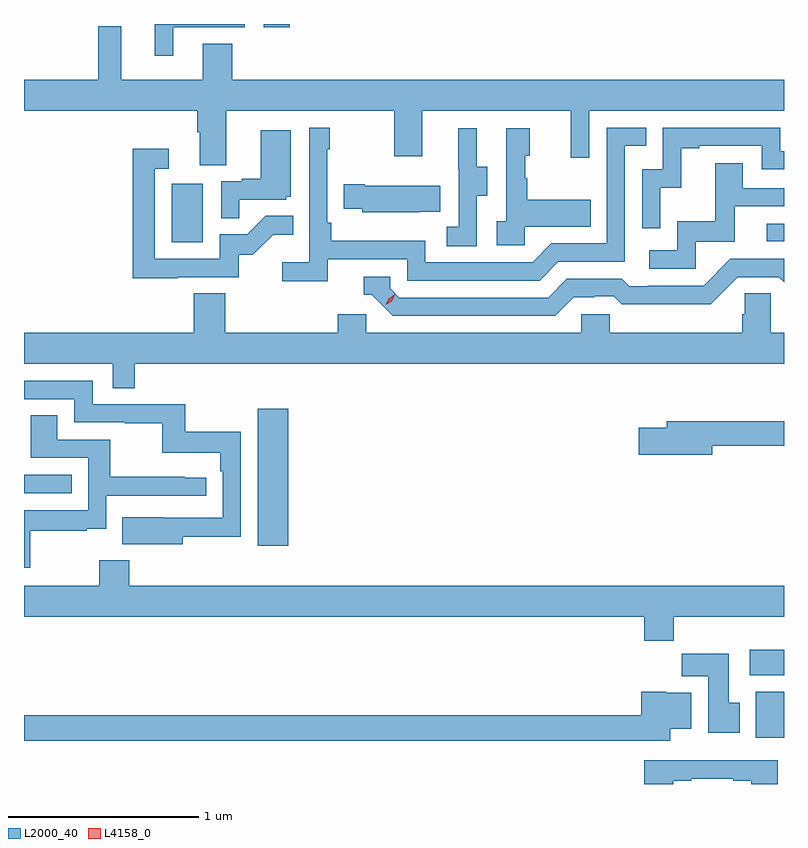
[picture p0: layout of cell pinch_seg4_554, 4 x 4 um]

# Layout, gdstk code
import gdstk
lib = gdstk.Library(unit=1e-6, precision=1e-09)
def R(c, l, rs):  # rectangles x0, y0, x1, y1
    for r in rs: c.add(gdstk.rectangle(r[:2], r[2:], *l))
def P(c, l, *ps):  # polygons
    for p in ps: c.add(gdstk.Polygon(p, *l))
L2000_40 = (2000, 40)
L4158_0 = (4158, 0)

pinch_seg4_554 = lib.new_cell('pinch_seg4_554')
R(pinch_seg4_554, L2000_40, [(1083.479,784.196,1083.627,784.438), (1083.447,784.526,1083.627,784.66), (1080.857,785.208,1081.018,785.929), (1079.627,785.484,1079.879,785.58), (1080.404,786.804,1080.568,787.111), (1083.537,786.81,1083.627,786.903), (1080.89,787.935,1081.025,787.953)])
P(pinch_seg4_554, L2000_40, [(1080.412,787.935),(1080.79,787.935),(1080.79,787.953),(1080.314,787.953),(1080.314,787.785),(1080.412,787.785)],
  [(1080.691,787.496),(1081.576,787.496),(1081.576,787.257),(1081.723,787.257),(1081.723,787.496),(1082.504,787.496),(1082.504,787.248),(1082.601,787.248),(1082.601,787.496),(1083.627,787.496),(1083.627,787.66),(1080.722,787.66),(1080.722,787.85),(1080.569,787.85),(1080.569,787.66),(1080.139,787.66),(1080.139,787.942),(1080.018,787.942),(1080.018,787.66),(1079.627,787.66),(1079.627,787.496),(1080.539,787.496),(1080.539,787.384),(1080.551,787.384),(1080.551,787.21),(1080.691,787.21)],
  [(1081.226,786.714),(1081.644,786.714),(1081.644,786.603),(1082.341,786.603),(1082.44,786.702),(1082.79,786.702),(1082.79,787.311),(1082.903,787.311),(1082.903,787.407),(1082.694,787.407),(1082.694,786.798),(1082.403,786.798),(1082.304,786.699),(1081.74,786.699),(1081.74,786.811),(1081.244,786.811),(1081.244,786.907),(1081.224,786.907),(1081.224,787.295),(1081.237,787.295),(1081.237,787.408),(1081.128,787.408),(1081.128,786.7),(1080.987,786.7),(1080.987,786.598),(1081.226,786.598)],
  [(1082.976,787.091),(1083.086,787.091),(1083.086,787.299),(1083.181,787.299),(1083.181,787.311),(1083.51,787.311),(1083.51,787.188),(1083.627,787.188),(1083.627,787.284),(1083.606,787.284),(1083.606,787.407),(1082.988,787.407),(1082.988,787.188),(1082.88,787.188),(1082.88,786.879),(1082.976,786.879)],
  [(1082.262,786.887),(1082.609,786.887),(1082.609,787.027),(1082.275,787.027),(1082.275,787.142),(1082.265,787.142),(1082.265,787.26),(1082.29,787.26),(1082.29,787.405),(1082.166,787.405),(1082.166,786.914),(1082.115,786.914),(1082.115,786.789),(1082.262,786.789)],
  [(1082.01,787.048),(1082.065,787.048),(1082.065,787.203),(1082.011,787.203),(1082.011,787.405),(1081.913,787.405),(1081.913,787.191),(1081.914,787.191),(1081.914,786.887),(1081.851,786.887),(1081.851,786.784),(1082.01,786.784)],
  [(1080.761,787.029),(1081.008,787.029),(1081.008,787.044),(1081.03,787.044),(1081.03,787.393),(1080.872,787.393),(1080.872,787.138),(1080.773,787.138),(1080.773,787.125),(1080.666,787.125),(1080.666,786.931),(1080.761,786.931)],
  [(1080.437,786.621),(1080.756,786.621),(1080.756,786.738),(1080.832,786.738),(1080.939,786.845),(1081.043,786.845),(1081.043,786.944),(1080.899,786.944),(1080.801,786.846),(1080.657,786.846),(1080.657,786.717),(1080.315,786.717),(1080.315,787.191),(1080.388,787.191),(1080.388,787.297),(1080.199,787.297),(1080.199,786.616),(1080.437,786.616)],
  [(1083.162,786.807),(1083.367,786.807),(1083.367,786.993),(1083.627,786.993),(1083.627,787.089),(1083.409,787.089),(1083.409,787.219),(1083.265,787.219),(1083.265,786.916),(1083.066,786.916),(1083.066,786.762),(1082.919,786.762),(1082.919,786.666),(1083.162,786.666)],
  [(1081.709,786.965),(1081.817,786.965),(1081.817,787.102),(1081.42,787.102),(1081.42,787.11),(1081.309,787.11),(1081.309,786.98),(1081.407,786.98),(1081.407,786.962),(1081.709,786.962)],
  [(1082.521,786.516),(1082.628,786.516),(1082.628,786.519),(1082.731,786.519),(1082.773,786.477),(1083.006,786.477),(1083.006,786.479),(1083.242,786.479),(1083.384,786.621),(1083.6,786.621),(1083.627,786.594),(1083.627,786.717),(1083.345,786.717),(1083.204,786.576),(1082.911,786.576),(1082.911,786.573),(1082.812,786.573),(1082.773,786.612),(1082.484,786.612),(1082.385,786.513),(1081.602,786.513),(1081.554,786.561),(1081.554,786.624),(1081.415,786.624),(1081.415,786.528),(1081.458,786.528),(1081.569,786.417),(1082.422,786.417)],
  [(1080.209,786.164),(1083.627,786.164),(1083.627,786.328),(1083.558,786.328),(1083.558,786.536),(1083.421,786.536),(1083.421,786.426),(1083.407,786.426),(1083.407,786.328),(1082.709,786.328),(1082.709,786.426),(1082.559,786.426),(1082.559,786.328),(1081.428,786.328),(1081.428,786.426),(1081.277,786.426),(1081.277,786.328),(1080.686,786.328),(1080.686,786.536),(1080.521,786.536),(1080.521,786.328),(1079.627,786.328),(1079.627,786.164),(1080.093,786.164),(1080.093,786.037),(1080.209,786.037)],
  [(1080.463,785.254),(1080.768,785.254),(1080.768,785.806),(1080.475,785.806),(1080.475,785.952),(1079.988,785.952),(1079.988,786.075),(1079.627,786.075),(1079.627,785.979),(1079.892,785.979),(1079.892,785.856),(1080.157,785.856),(1080.157,785.851),(1080.354,785.851),(1080.354,785.696),(1080.659,785.696),(1080.659,785.6),(1080.672,785.6),(1080.672,785.355),(1080.359,785.355),(1080.359,785.356),(1080.145,785.356),(1080.145,785.216),(1080.463,785.216)],
  [(1079.659,785.286),(1079.957,785.286),(1079.957,785.297),(1080.06,785.297),(1080.06,785.469),(1080.586,785.469),(1080.586,785.565),(1080.473,785.565),(1080.473,785.57),(1080.08,785.57),(1080.08,785.766),(1079.803,785.766),(1079.803,785.894),(1079.663,785.894),(1079.663,785.67),(1079.964,785.67),(1079.964,785.394),(1079.627,785.394),(1079.627,785.091),(1079.659,785.091)],
  [(1083.25,785.734),(1083.627,785.734),(1083.627,785.863),(1083.011,785.863),(1083.011,785.829),(1082.862,785.829),(1082.862,785.687),(1083.25,785.687)],
  [(1083.047,784.832),(1083.627,784.832),(1083.627,784.996),(1080.182,784.996),(1080.182,785.131),(1080.022,785.131),(1080.022,784.996),(1079.627,784.996),(1079.627,784.832),(1082.891,784.832),(1082.891,784.708),(1083.047,784.708)],
  [(1083.394,784.38),(1083.337,784.38),(1083.337,784.639),(1083.088,784.639),(1083.088,784.52),(1083.227,784.52),(1083.227,784.224),(1083.394,784.224)],
  [(1083.028,784.244),(1083.139,784.244),(1083.139,784.432),(1083.006,784.432),(1083.006,784.438),(1082.876,784.438),(1082.876,784.316),(1079.627,784.316),(1079.627,784.18),(1083.028,784.18)],
  [(1083.043,783.969),(1083.139,783.969),(1083.139,783.981),(1083.359,783.981),(1083.359,783.969),(1083.455,783.969),(1083.455,783.953),(1083.595,783.953),(1083.595,784.078),(1082.891,784.078),(1082.891,783.953),(1083.043,783.953)])
P(pinch_seg4_554, L4158_0, [(1081.532,786.475),(1081.532,786.475),(1081.546,786.508),(1081.576,786.528),(1081.577,786.528),(1081.577,786.528),(1081.562,786.495),(1081.532,786.475)])

lib.write_gds('pinch_seg4_554.gds')
